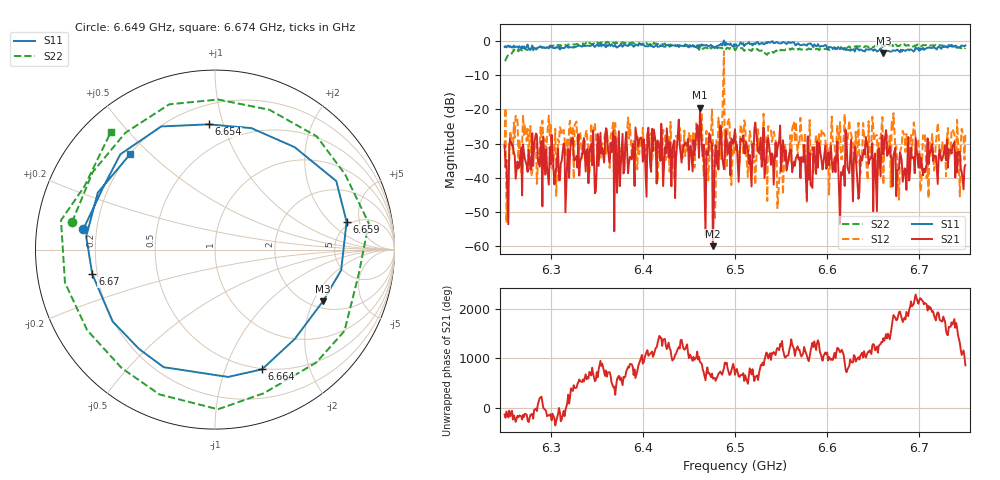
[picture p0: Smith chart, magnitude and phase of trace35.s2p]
# Hz S RI R 50
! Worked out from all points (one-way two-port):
!   401 points, 6.25 GHz to 6.75 GHz, reference 50 ohm
!   highest |S21| = -19.55 dB at 6.462 GHz (marker M1); lowest = -60.0 dB at 6.476 GHz (marker M2)
!   lowest |S11| = -3.5 dB at 6.661 GHz (marker M3), VSWR 5.00, Z = 115 - j119 ohm
!   |S11| at or under -10 dB: nowhere
!   |S22| runs from -5.8 to -0.2 dB; largest |S21 - S12| = 0.71
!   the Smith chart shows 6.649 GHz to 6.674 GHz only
!   S11 on the Smith chart (normalised r, x): 6.649 GHz: 0.15, +0.08; 6.654 GHz: 0.33, +0.89; 6.659 GHz: 4.60, +3.26; 6.664 GHz: 0.49, -1.35; 6.67 GHz: 0.18, -0.10; 6.674 GHz: 0.20, +0.44
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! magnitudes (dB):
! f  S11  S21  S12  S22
! 6.25 GHz  -1.8  -30.5  -31.2  -5.8
! 6.334 GHz  -1.7  -33.3  -34.3  -1.0
! 6.418 GHz  -1.7  -31.1  -28.8  -1.0
! 6.462 GHz  -1.4  -19.5  -27.7  -1.7
! 6.476 GHz  -1.6  -60.0  -27.8  -1.8
! 6.48 GHz  -2.0  -35.9  -28.7  -1.7
! 6.485 GHz  -0.9  -25.9  -34.5  -2.1
! 6.5 GHz  -1.5  -25.8  -26.6  -2.8
! 6.539 GHz  -0.3  -36.2  -25.9  -3.7
! 6.549 GHz  -0.7  -24.7  -38.3  -2.8
! 6.565 GHz  -1.1  -36.5  -29.5  -2.5
! 6.584 GHz  -1.4  -42.9  -31.0  -2.4
! 6.649 GHz  -2.6  -29.9  -22.2  -1.8
! 6.654 GHz  -3.1  -49.7  -27.5  -1.6
! 6.659 GHz  -2.5  -27.8  -25.2  -1.2
! 6.661 GHz  -3.5  -33.2  -42.0  -1.4
! 6.664 GHz  -2.9  -26.0  -32.1  -1.5
! 6.668 GHz  -3.1  -30.9  -27.8  -1.5
! 6.67 GHz  -3.1  -34.6  -23.3  -1.4
! 6.674 GHz  -3.0  -31.2  -31.5  -1.2
! 6.71 GHz  -2.0  -35.9  -46.0  -1.4
! 6.75 GHz  -1.3  -36.3  -27.0  -2.1
